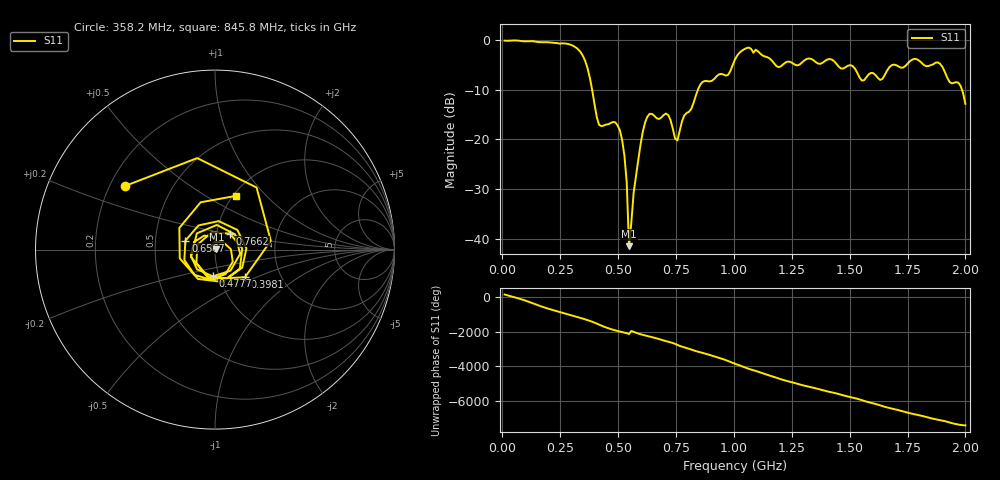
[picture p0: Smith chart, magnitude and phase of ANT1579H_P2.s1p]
!Created with skrf (http://scikit-rf.org).
# Hz S RI R 50.0
!freq ReS11 ImS11
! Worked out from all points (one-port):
!   201 points, 10 MHz to 2 GHz, reference 50 ohm
!   lowest |S11| = -41.5 dB at 547.3 MHz (marker M1), VSWR 1.02, Z = 50.8 + j0.216 ohm
!   |S11| at or under -10 dB: 387.9 MHz to 844.9 MHz (456.9 MHz wide, 74.1 % of centre); 1.985 GHz to end of sweep
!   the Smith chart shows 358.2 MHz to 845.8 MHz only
!   S11 on the Smith chart (normalised r, x): 358.2 MHz: 0.26, +0.30; 398.1 MHz: 1.32, -0.43; 477.6 MHz: 0.93, -0.28; 656.8 MHz: 0.71, +0.07; 766.2 MHz: 1.16, +0.21; 845.8 MHz: 1.03, +0.69
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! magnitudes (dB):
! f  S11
! 10 MHz  -0.1
! 258.8 MHz  -0.7
! 358.2 MHz  -4.3
! 398.1 MHz  -12.9
! 417.9 MHz  -17.1
! 477.6 MHz  -16.5
! 507.5 MHz  -18.1
! 527.4 MHz  -23.3
! 537.4 MHz  -28.7
! 547.3 MHz  -41.5
! 567.2 MHz  -30.8
! 607 MHz  -18.4
! 656.8 MHz  -15.3
! 716.5 MHz  -15.1
! 756.2 MHz  -20.2
! 766.2 MHz  -18.3
! 845.8 MHz  -9.9
! 975.1 MHz  -7.0
! 1.005 GHz  -3.9
! 1.065 GHz  -1.5
! 1.194 GHz  -5.5
! 1.254 GHz  -4.7
! 1.502 GHz  -5.1
! 1.552 GHz  -8.1
! 1.751 GHz  -4.7
! 1.891 GHz  -4.8
! 1.98 GHz  -9.3
! 2 GHz  -12.8
